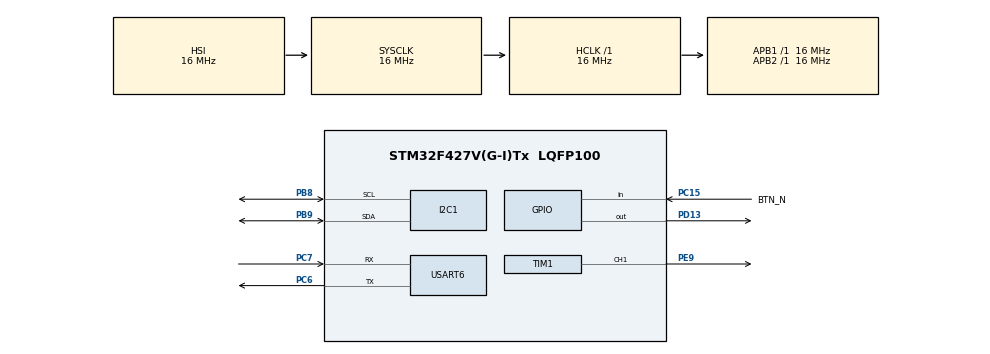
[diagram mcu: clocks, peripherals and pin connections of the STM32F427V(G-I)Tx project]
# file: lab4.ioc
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I2C1.I2C_Mode=I2C_Fast
Mcu.Family=STM32F4
Mcu.Name=STM32F427V(G-I)Tx
Mcu.Package=LQFP100
NVIC.PriorityGroup=NVIC_PRIORITYGROUP_4
NVIC.TIM6_DAC_IRQn=true\:0\:0\:false\:false\:true\:true\:true\:true
NVIC.USART6_IRQn=true\:0\:0\:false\:false\:true\:true\:true\:true
PA13.Mode=JTAG_5_pins
PA13.Signal=SYS_JTMS-SWDIO
PA14.Mode=JTAG_5_pins
PA14.Signal=SYS_JTCK-SWCLK
PA15.Mode=JTAG_5_pins
PA15.Signal=SYS_JTDI
PB3.Mode=JTAG_5_pins
PB3.Signal=SYS_JTDO-SWO
PB4.Mode=JTAG_5_pins
PB4.Signal=SYS_JTRST
PB8.Mode=I2C
PB8.Signal=I2C1_SCL
PB9.Mode=I2C
PB9.Signal=I2C1_SDA
PC15/OSC32_OUT.GPIO_Label=BTN_N
PC15/OSC32_OUT.Signal=GPIO_Input
PC6.Mode=Asynchronous
PC6.Signal=USART6_TX
PC7.Mode=Asynchronous
PC7.Signal=USART6_RX
PD13.Signal=GPIO_Output
PE9.Signal=S_TIM1_CH1
ProjectManager.HeapSize=0x200
ProjectManager.StackSize=0x400
ProjectManager.TargetToolchain=STM32CubeIDE
RCC.AHBFreq_Value=16000000
RCC.APB1Freq_Value=16000000
RCC.APB1TimFreq_Value=16000000
RCC.APB2Freq_Value=16000000
RCC.APB2TimFreq_Value=16000000
RCC.CortexFreq_Value=16000000
RCC.HCLKFreq_Value=16000000
RCC.HSE_VALUE=25000000
RCC.HSI_VALUE=16000000
RCC.LSE_VALUE=32768
RCC.SYSCLKFreq_VALUE=16000000
RCC.VCOOutputFreq_Value=192000000
SH.S_TIM1_CH1.0=TIM1_CH1,PWM Generation1 CH1
TIM1.Channel-PWM\ Generation1\ CH1=TIM_CHANNEL_1
TIM1.Period=10
TIM1.Prescaler=0
TIM1.Pulse-PWM\ Generation1\ CH1=0
TIM6.Period=1000
TIM6.Prescaler=15999
USART6.VirtualMode=VM_ASYNC
VP_TIM1_VS_ClockSourceINT.Mode=Internal
VP_TIM6_VS_ClockSourceINT.Mode=Enable_Timer
board=custom

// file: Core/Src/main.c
/* USER CODE BEGIN Header */
/**
  ******************************************************************************
  * @file           : main.c
  * @brief          : Main program body
  ******************************************************************************
  * @attention
  *
  * Copyright (c) 2022 STMicroelectronics.
  * All rights reserved.
  *
  * This software is licensed under terms that can be found in the LICENSE file
  * in the root directory of this software component.
  * If no LICENSE file comes with this software, it is provided AS-IS.
  *
  ******************************************************************************
  */
/* USER CODE END Header */
#include "main.h"
#include "i2c.h"
#include "tim.h"
#include "usart.h"
#include "gpio.h"

/* USER CODE BEGIN Includes */
#include <string.h>
#include <stdio.h>
#include <inttypes.h>

#include "command.h"
#include "menu.h"
#include "hardware/buzzer.h"
#include "kb.h"
#include "hardware/button.h"
/* USER CODE END Includes */

/* USER CODE BEGIN PD */
#define UART_BUF_SIZE 128
/* USER CODE END PD */

/* USER CODE BEGIN PV */
static uint8_t uartBuf[UART_BUF_SIZE];
static uint8_t uartBufLast = 0;
static Command *commands[12];
/* USER CODE END PV */

void SystemClock_Config(void);
/* USER CODE BEGIN PFP */
static void kbUpdateState();
static void sendMessage(const char * msg);
/* USER CODE END PFP */

int main(void)
{
  /* USER CODE BEGIN 1 */
	  commands[0] = commandCreate("1", (CommandAction) playA);
	  commands[1] = commandCreate("2", (CommandAction) playB);
	  commands[2] = commandCreate("3", (CommandAction) playC);
	  commands[3] = commandCreate("4", (CommandAction) playD);
	  commands[4] = commandCreate("5", (CommandAction) playE);
	  commands[5] = commandCreate("6", (CommandAction) playF);
	  commands[6] = commandCreate("7", (CommandAction) playG);
	  commands[7] = commandCreate("8", (CommandAction) upOctave);//+
	  commands[8] = commandCreate("9", (CommandAction) downOctave);//-
	  commands[9] = commandCreate("10", (CommandAction) upDuration);//A
	  commands[10] = commandCreate("11", (CommandAction) downDuration);//a
	  commands[11] = commandCreate("12", (CommandAction) playAll);//enter
  /* USER CODE END 1 */

  /* MCU Configuration--------------------------------------------------------*/

  /* Reset of all peripherals, Initializes the Flash interface and the Systick. */
  HAL_Init();

  /* Configure the system clock */
  SystemClock_Config();

  /* Initialize all configured peripherals */
  MX_GPIO_Init();
  MX_USART6_UART_Init();
  MX_TIM1_Init();
  MX_TIM6_Init();
  MX_I2C1_Init();
  /* USER CODE BEGIN 2 */
  uartInit();
  HAL_TIM_PWM_Start(&htim1, TIM_CHANNEL_1);
  HAL_TIM_Base_Start_IT(&htim6);
  buttonInit(BTN_N_GPIO_Port, BTN_N_Pin);
  buttonSetOnClick(&kbChangeMode);

  menuInit(commands, 12);
  sendMessage("Started\n");
  /* USER CODE END 2 */

  /* Infinite loop */
  /* USER CODE BEGIN WHILE */
  while (1)
  {
	  uartPolling();
	  buttonUpdateState();
	  kbUpdateState();
    /* USER CODE END WHILE */

  }
}

void SystemClock_Config(void)
{
  RCC_OscInitTypeDef RCC_OscInitStruct = {0};
  RCC_ClkInitTypeDef RCC_ClkInitStruct = {0};

  /** Configure the main internal regulator output voltage
  */
  __HAL_RCC_PWR_CLK_ENABLE();
  __HAL_PWR_VOLTAGESCALING_CONFIG(PWR_REGULATOR_VOLTAGE_SCALE3);

  /** Initializes the RCC Oscillators according to the specified parameters
  * in the RCC_OscInitTypeDef structure.
  */
  RCC_OscInitStruct.OscillatorType = RCC_OSCILLATORTYPE_HSI;
  RCC_OscInitStruct.HSIState = RCC_HSI_ON;
  RCC_OscInitStruct.HSICalibrationValue = RCC_HSICALIBRATION_DEFAULT;
  RCC_OscInitStruct.PLL.PLLState = RCC_PLL_NONE;
  if (HAL_RCC_OscConfig(&RCC_OscInitStruct) != HAL_OK)
  {
    Error_Handler();
  }

  /** Initializes the CPU, AHB and APB buses clocks
  */
  RCC_ClkInitStruct.ClockType = RCC_CLOCKTYPE_HCLK|RCC_CLOCKTYPE_SYSCLK
                              |RCC_CLOCKTYPE_PCLK1|RCC_CLOCKTYPE_PCLK2;
  RCC_ClkInitStruct.SYSCLKSource = RCC_SYSCLKSOURCE_HSI;
  RCC_ClkInitStruct.AHBCLKDivider = RCC_SYSCLK_DIV1;
  RCC_ClkInitStruct.APB1CLKDivider = RCC_HCLK_DIV1;
  RCC_ClkInitStruct.APB2CLKDivider = RCC_HCLK_DIV1;

  if (HAL_RCC_ClockConfig(&RCC_ClkInitStruct, FLASH_LATENCY_0) != HAL_OK)
  {
    Error_Handler();
  }
}

/* USER CODE BEGIN 4 */
static void sendMessage(const char * msg) {
    uartTransmit((uint8_t *) msg, strlen(msg));
}

static void kbUpdateState() {
	uint8_t Row[4] = {ROW1, ROW2, ROW3, ROW4};
	uint8_t Key;
	for ( int i = 0; i < 4; i++ ) {
		Key = Check_Row( Row[i] );
		Key = Check_Row( Row[i] );
		Key = Check_Row( Row[i] );
		Key = Check_Row( Row[i] );
		Key = Check_Row( Row[i] );
		if ( Key == 3 ) {
			keyPressHandle(3*i+3);
		} else {
			keyReleaseHandle(3*i+3);
		}

		if ( Key == 2 ) {
			keyPressHandle(3*i+2);
		} else {
			keyReleaseHandle(3*i+2);
		}

		if ( Key == 1 ) {
			keyPressHandle(3*i+1);
		} else {
			keyReleaseHandle(3*i+1);
		}
	}
}
/* USER CODE END 4 */

void Error_Handler(void)
{
  __disable_irq();
  while (1)
  {
  }
}
